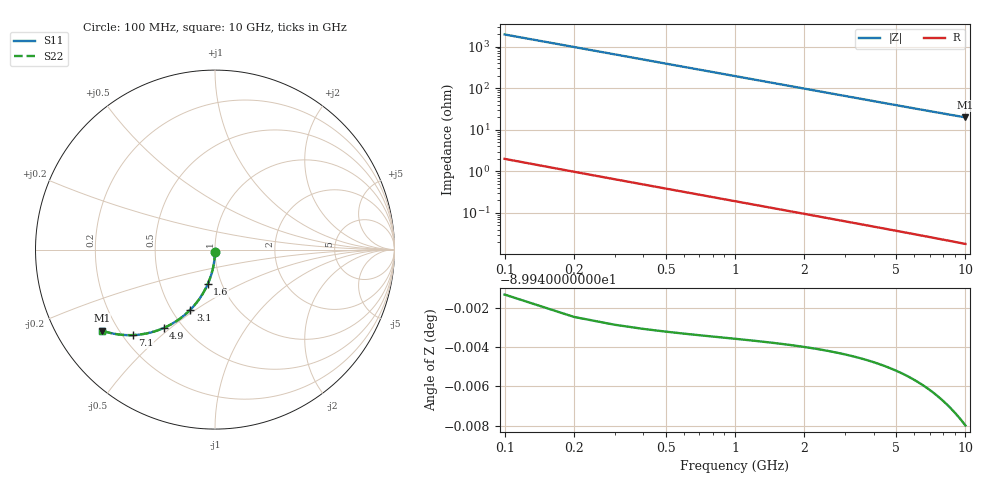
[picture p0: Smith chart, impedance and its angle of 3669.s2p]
# Hz S RI R 50.00
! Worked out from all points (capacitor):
!   100 points, 100 MHz to 10 GHz, reference 50 ohm
!   read as one part in shunt: C = 817 fF near 100 MHz
!   lowest |Z| = 19.9 ohm at 10 GHz (marker M1)
!   S11 on the Smith chart (normalised r, x): 100 MHz: 1.00, -0.03; 1.6 GHz: 0.86, -0.34; 3.1 GHz: 0.62, -0.48; 4.9 GHz: 0.39, -0.47; 7.1 GHz: 0.24, -0.40; 10 GHz: 0.14, -0.32
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1e8  -0.000123 -0.0125  0.9998 -0.0131  0.9998 -0.0131  -0.000123 -0.0125
2e8  -0.000629 -0.0251  0.9993 -0.0262  0.9993 -0.0262  -0.000629 -0.0251
3e8  -0.00146 -0.0376  0.9984 -0.0393  0.9984 -0.0393  -0.00146 -0.0376
4e8  -0.00262 -0.05  0.9973 -0.0524  0.9973 -0.0524  -0.00262 -0.05
5e8  -0.00411 -0.0624  0.9958 -0.0654  0.9958 -0.0654  -0.00411 -0.0624
6e8  -0.00591 -0.0748  0.994 -0.0783  0.994 -0.0783  -0.00591 -0.0748
7e8  -0.00804 -0.0871  0.9918 -0.0912  0.9918 -0.0912  -0.00804 -0.0871
9e8  -0.0132 -0.1114  0.9866 -0.1167  0.9866 -0.1167  -0.0132 -0.1114
1.2e9  -0.0233 -0.147  0.9766 -0.1541  0.9766 -0.1541  -0.0233 -0.147
1.6e9  -0.0407 -0.1925  0.9592 -0.2019  0.9592 -0.2019  -0.0407 -0.1925
1.8e9  -0.0509 -0.2142  0.9489 -0.2249  0.9489 -0.2249  -0.0509 -0.2142
2.4e9  -0.0872 -0.2746  0.9126 -0.2889  0.9126 -0.2889  -0.0872 -0.2746
3.1e9  -0.1377 -0.335  0.862 -0.3534  0.862 -0.3534  -0.1377 -0.335
3.4e9  -0.1612 -0.3573  0.8385 -0.3775  0.8385 -0.3775  -0.1612 -0.3573
4.1e9  -0.2188 -0.4008  0.7807 -0.4254  0.7807 -0.4254  -0.2188 -0.4008
4.9e9  -0.2864 -0.437  0.7131 -0.4664  0.7131 -0.4664  -0.2864 -0.437
5.1e9  -0.3032 -0.4439  0.6963 -0.4746  0.6963 -0.4746  -0.3032 -0.4439
5.9e9  -0.3687 -0.4642  0.6305 -0.4999  0.6305 -0.4999  -0.3687 -0.4642
6.7e9  -0.4304 -0.4744  0.5686 -0.515  0.5686 -0.515  -0.4304 -0.4744
7.1e9  -0.4594 -0.4763  0.5395 -0.5195  0.5395 -0.5195  -0.4594 -0.4763
8.4e9  -0.5447 -0.4717  0.4538 -0.5232  0.4538 -0.5232  -0.5447 -0.4717
1e10  -0.6307 -0.4509  0.3673 -0.5128  0.3673 -0.5128  -0.6307 -0.4509
